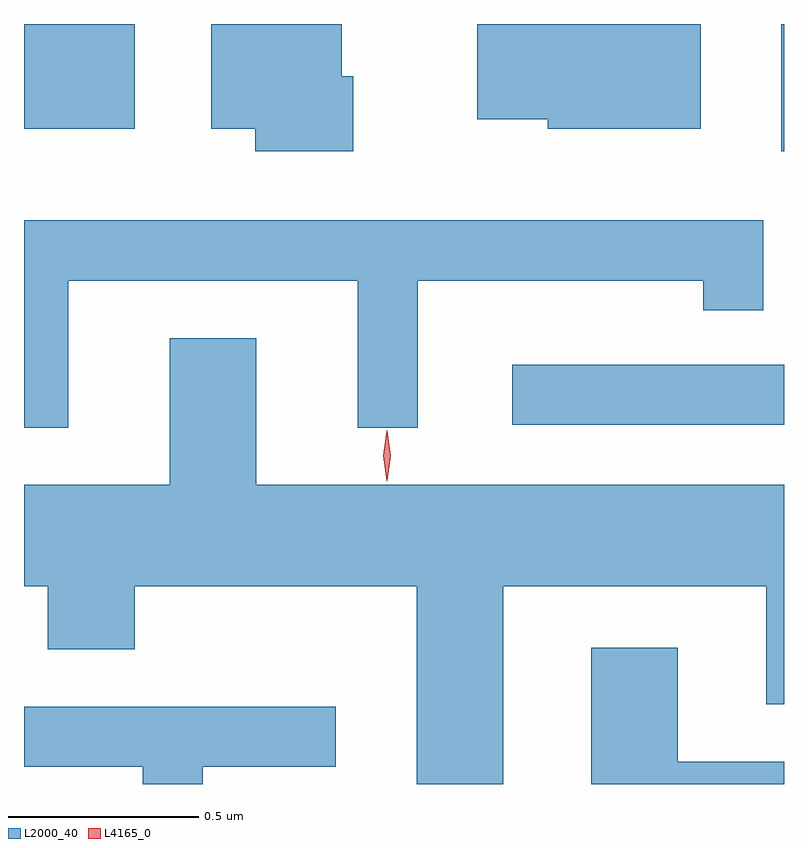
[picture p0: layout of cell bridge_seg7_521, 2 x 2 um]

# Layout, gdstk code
import gdstk
lib = gdstk.Library(unit=1e-6, precision=1e-09)
def R(c, l, rs):  # rectangles x0, y0, x1, y1
    for r in rs: c.add(gdstk.rectangle(r[:2], r[2:], *l))
def P(c, l, *ps):  # polygons
    for p in ps: c.add(gdstk.Polygon(p, *l))
L2000_40 = (2000, 40)
L4165_0 = (4165, 0)

bridge_seg7_521 = lib.new_cell('bridge_seg7_521')
R(bridge_seg7_521, L2000_40, [(1317.433,1723.621,1318.148,1723.779), (1318.141,1724.341,1318.148,1724.676), (1316.148,1724.401,1316.439,1724.676)])
P(bridge_seg7_521, L2000_40, [(1317.929,1724.676),(1317.341,1724.676),(1317.341,1724.426),(1317.526,1724.426),(1317.526,1724.401),(1317.929,1724.401)],
  [(1317.014,1724.539),(1316.984,1724.539),(1316.984,1724.676),(1316.641,1724.676),(1316.641,1724.401),(1316.756,1724.401),(1316.756,1724.341),(1317.014,1724.341)],
  [(1316.264,1724.001),(1317.026,1724.001),(1317.026,1723.613),(1317.184,1723.613),(1317.184,1724.001),(1317.936,1724.001),(1317.936,1723.923),(1318.094,1723.923),(1318.094,1724.159),(1316.148,1724.159),(1316.148,1723.613),(1316.264,1723.613)],
  [(1317.409,1723.196),(1318.101,1723.196),(1318.101,1722.886),(1318.148,1722.886),(1318.148,1723.464),(1316.759,1723.464),(1316.759,1723.849),(1316.531,1723.849),(1316.531,1723.464),(1316.148,1723.464),(1316.148,1723.196),(1316.211,1723.196),(1316.211,1723.031),(1316.439,1723.031),(1316.439,1723.196),(1317.181,1723.196),(1317.181,1722.676),(1317.409,1722.676)],
  [(1318.148,1722.734),(1317.869,1722.734),(1317.869,1723.034),(1317.641,1723.034),(1317.641,1722.676),(1318.148,1722.676)],
  [(1316.619,1722.721),(1316.968,1722.721),(1316.968,1722.879),(1316.148,1722.879),(1316.148,1722.721),(1316.461,1722.721),(1316.461,1722.676),(1316.619,1722.676)])
P(bridge_seg7_521, L4165_0, [(1317.103,1723.473),(1317.103,1723.474),(1317.093,1723.54),(1317.103,1723.606),(1317.103,1723.607),(1317.104,1723.606),(1317.113,1723.54),(1317.104,1723.474)])

lib.write_gds('bridge_seg7_521.gds')
